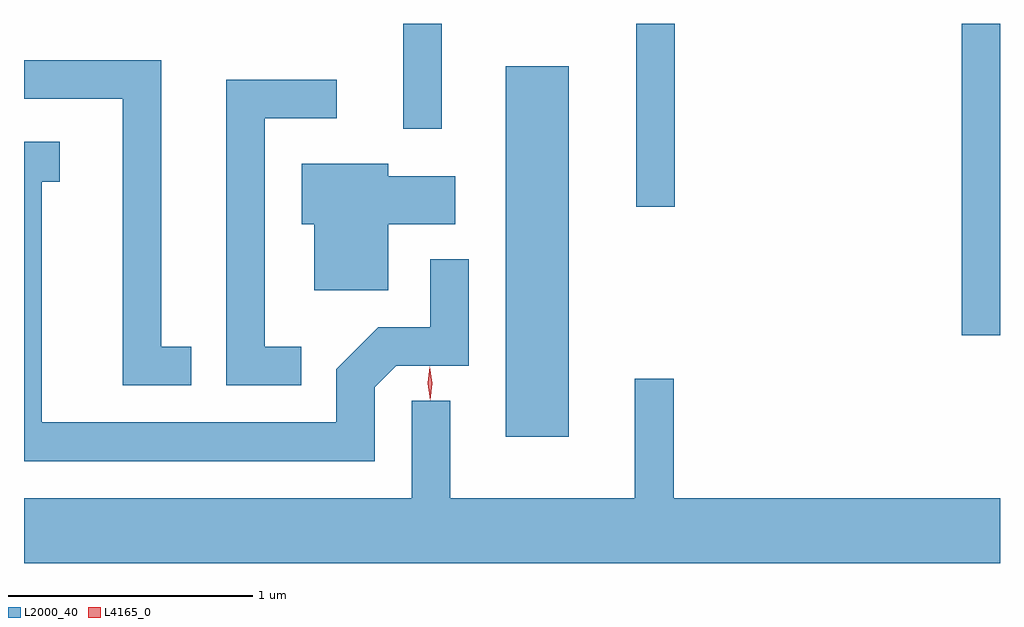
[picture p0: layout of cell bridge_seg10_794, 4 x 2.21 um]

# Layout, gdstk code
import gdstk
lib = gdstk.Library(unit=1e-6, precision=1e-09)
def R(c, l, rs):  # rectangles x0, y0, x1, y1
    for r in rs: c.add(gdstk.rectangle(r[:2], r[2:], *l))
def P(c, l, *ps):  # polygons
    for p in ps: c.add(gdstk.Polygon(p, *l))
L2000_40 = (2000, 40)
L4165_0 = (4165, 0)

bridge_seg10_794 = lib.new_cell('bridge_seg10_794')
R(bridge_seg10_794, L2000_40, [(380.686,2085.576,380.944,2087.094), (382.556,2085.991,382.712,2087.269), (381.221,2086.518,381.379,2087.269), (380.266,2086.838,380.424,2087.269)])
P(bridge_seg10_794, L2000_40, [(379.398,2085.944),(379.274,2085.944),(379.274,2087.119),(378.712,2087.119),(378.712,2086.961),(379.116,2086.961),(379.116,2085.786),(379.398,2085.786)],
  [(379.848,2085.944),(379.699,2085.944),(379.699,2086.881),(379.993,2086.881),(379.993,2087.039),(379.541,2087.039),(379.541,2085.786),(379.848,2085.786)],
  [(380.149,2085.779),(380.237,2085.866),(380.534,2085.866),(380.534,2086.303),(380.376,2086.303),(380.376,2086.024),(380.164,2086.024),(379.991,2085.852),(379.991,2085.634),(378.784,2085.634),(378.784,2086.621),(378.858,2086.621),(378.858,2086.784),(378.712,2086.784),(378.712,2085.476),(380.149,2085.476)],
  [(380.204,2086.446),(380.479,2086.446),(380.479,2086.644),(380.204,2086.644),(380.204,2086.694),(379.851,2086.694),(379.851,2086.446),(379.901,2086.446),(379.901,2086.176),(380.204,2086.176)],
  [(382.712,2085.324),(381.374,2085.324),(381.374,2085.813),(381.216,2085.813),(381.216,2085.324),(380.459,2085.324),(380.459,2085.722),(380.301,2085.722),(380.301,2085.324),(378.712,2085.324),(378.712,2085.056),(382.712,2085.056)])
P(bridge_seg10_794, L4165_0, [(380.377,2085.724),(380.376,2085.725),(380.366,2085.794),(380.374,2085.863),(380.375,2085.863),(380.375,2085.863),(380.386,2085.794),(380.377,2085.725)],
  [(380.377,2085.727),(380.376,2085.728),(380.366,2085.794),(380.374,2085.86),(380.375,2085.861),(380.375,2085.86),(380.386,2085.794),(380.377,2085.728)])

lib.write_gds('bridge_seg10_794.gds')
